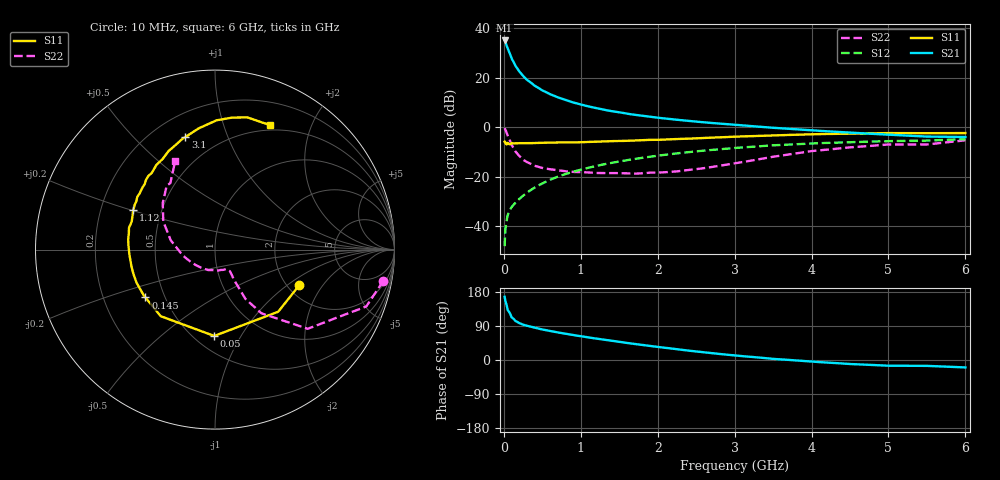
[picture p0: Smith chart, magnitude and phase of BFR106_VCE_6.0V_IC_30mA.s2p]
! Infineon Technologies  Discrete & RF Semiconductors
! BFR106
! VCE =  6.0 V,  IC =  30 mA
! Common Emitter S-Parameters:  Nov 2015
# GHz  S  MA  R  50
!  f  S11  S21  S12  S22
! GHz  MAG  ANG  MAG  ANG  MAG  ANG  MAG  ANG
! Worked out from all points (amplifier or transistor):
!   210 points, 10 MHz to 6 GHz, reference 50 ohm
!   highest |S21| = 35.1 dB at 10 MHz (marker M1)
!   |S21| within 3 dB of that: start of sweep to 47.29 MHz
!   unconditionally stable (mu >= 1): 308.2 MHz to 2.15 GHz
!   at 185 MHz: K = 0.85, MSG = 26.4 dB, |S12| = -29.5 dB
!   at 1.52 GHz: K = 1.05, MAG = 8.5 dB, |S12| = -13.8 dB
!   at 6 GHz: K = 0.98, MSG = 0.4 dB, |S12| = -4.8 dB
!   S11 on the Smith chart (normalised r, x): 10 MHz: 2.31, -1.24; 50 MHz: 0.62, -0.78; 145 MHz: 0.39, -0.27; 1.12 GHz: 0.34, +0.20; 3.1 GHz: 0.33, +0.72; 6 GHz: 0.44, +1.45
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0.01  0.5098 -22.9  56.91 166.8  0.0039 83.9  0.954 -10.5
0.02  0.4938 -44.5  53.11 156.0  0.0084 74.7  0.9003 -20.6
0.05  0.4811 -90.5  39.39 131.9  0.0166 62.8  0.6793 -40.5
0.1  0.4787 -129.2  24.78 112.9  0.024 56.9  0.439 -53.9
0.145  0.4705 -145.5  18.15 104.3  0.0289 58.6  0.3341 -57.7
0.15  0.472 -147.3  17.45 102.9  0.0295 58.7  0.3226 -58.3
0.2  0.4744 -157.2  13.48 97.4  0.0351 62.0  0.2615 -58.1
0.24  0.474 -162.9  11.37 94.0  0.0398 63.3  0.2278 -58.0
0.26  0.4743 -165.3  10.5 92.5  0.0422 64.1  0.2149 -58.0
0.3  0.4746 -169.1  9.1 90.1  0.047 65.9  0.197 -57.8
0.4  0.4781 -177.1  6.915 85.1  0.0597 67.7  0.1654 -56.3
0.5  0.4822 178.0  5.555 80.5  0.0723 69.1  0.1483 -55.3
0.6  0.4871 173.3  4.662 76.5  0.0858 69.1  0.1406 -56.2
0.8  0.4943 165.8  3.541 69.2  0.1121 68.4  0.1273 -59.8
1.02  0.4985 157.0  2.819 62.1  0.1406 66.7  0.1229 -65.5
1.12  0.5059 154.0  2.59 59.0  0.1535 65.8  0.1207 -69.7
1.6  0.5311 140.1  1.875 45.0  0.2147 60.2  0.1162 -90.9
2.02  0.5554 129.0  1.543 34.1  0.2669 54.6  0.1208 -115.5
3.1  0.6488 104.7  1.083 10.2  0.3881 39.0  0.196 -176.4
4.1  0.7239 87.9  0.843 -5.5  0.4746 23.9  0.3387 148.5
5.1  0.7572 75.0  0.691 -15.2  0.525 10.7  0.4461 126.5
6  0.7593 66.0  0.632 -19.6  0.5722 0.4  0.5422 114.1
